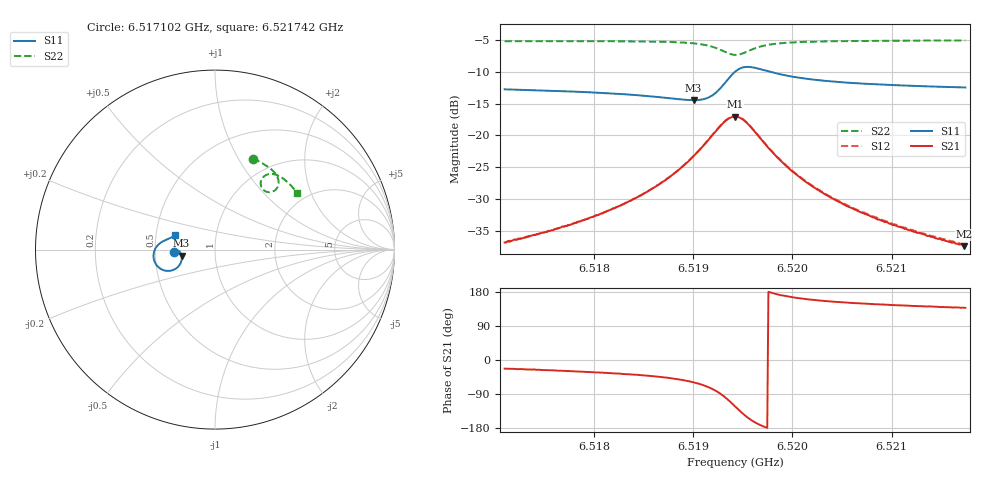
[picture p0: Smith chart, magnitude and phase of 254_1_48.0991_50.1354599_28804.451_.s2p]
#  HZ  S  RI  R  50.00
! Rohde & Schwarz Vector Network Analyzer
! Rohde-Schwarz,ZNB20-2Port,1311601062101988,3.16
! Created: UTC 12/23/2023, 4:00:05 AM
! freq[Hz]  re:S11  im:S11  re:S21  im:S21  re:S12  im:S12  re:S22  im:S22
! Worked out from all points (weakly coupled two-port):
!   401 points, 6.517102 GHz to 6.521742 GHz, reference 50 ohm
!   highest |S21| = -17.03 dB at 6.519422 GHz (marker M1); lowest = -37.4 dB at 6.52173 GHz (marker M2)
!   lowest |S11| = -14.5 dB at 6.519004 GHz (marker M3), VSWR 1.47, Z = 34.2 - j2.44 ohm
!   |S11| at or under -10 dB: start of sweep to 6.519423 GHz; 6.519773 GHz to end of sweep
!   |S22| runs from -7.4 to -5.1 dB; largest |S21 - S12| = 0.0043
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6.5171019e9  -0.2296 -0.0149  0.0133 -0.00559  0.0135 -0.00506  0.2104 0.5064
6.5174615e9  -0.2254 -0.00979  0.0153 -0.0076  0.0155 -0.00706  0.2369 0.4951
6.5178791e9  -0.2194 -0.00512  0.0185 -0.011  0.0187 -0.0103  0.2677 0.4791
6.5182851e9  -0.2109 -0.00345  0.0229 -0.0171  0.0235 -0.0163  0.2982 0.4596
6.5186564e9  -0.1996 -0.00866  0.0295 -0.0288  0.0305 -0.0281  0.3269 0.4347
6.5188536e9  -0.1917 -0.0186  0.0337 -0.0417  0.0351 -0.0408  0.3422 0.4152
6.5190044e9  -0.186 -0.0343  0.0355 -0.0587  0.0376 -0.0581  0.352 0.3935
6.5191088e9  -0.1853 -0.0532  0.0327 -0.0772  0.0354 -0.0768  0.3547 0.3728
6.5192016e9  -0.1928 -0.078  0.0222 -0.0996  0.0253 -0.0997  0.3491 0.3496
6.5193292e9  -0.2367 -0.1148  -0.0223 -0.1286  -0.0189 -0.1303  0.3152 0.321
6.519422e9  -0.2956 -0.1111  -0.0749 -0.1191  -0.0721 -0.1223  0.2745 0.3287
6.5194684e9  -0.3211 -0.0921  -0.0955 -0.0996  -0.0934 -0.1032  0.2599 0.3451
6.5195264e9  -0.339 -0.0599  -0.1079 -0.0698  -0.1068 -0.0735  0.2542 0.3702
6.5196192e9  -0.3396 -0.0132  -0.1033 -0.0297  -0.1032 -0.0328  0.2664 0.4013
6.5197236e9  -0.3233 0.0188  -0.0857 -0.00471  -0.0864 -0.00733  0.2895 0.4174
6.519944e9  -0.2911 0.0458  -0.0557 0.0118  -0.0566 0.0105  0.3296 0.4196
6.5201992e9  -0.2691 0.0558  -0.0373 0.0145  -0.0381 0.0135  0.3603 0.4081
6.5205472e9  -0.252 0.0624  -0.0246 0.0133  -0.0254 0.0128  0.3894 0.3882
6.5209764e9  -0.2394 0.0686  -0.0167 0.0116  -0.0175 0.0113  0.4177 0.3628
6.5213012e9  -0.2324 0.0731  -0.0134 0.0104  -0.0138 0.0102  0.4357 0.343
6.5217304e9  -0.2246 0.0789  -0.01 0.00907  -0.0106 0.0091  0.4572 0.3164
6.521742e9  -0.2245 0.079  -0.0101 0.00913  -0.0106 0.00907  0.4577 0.3158
